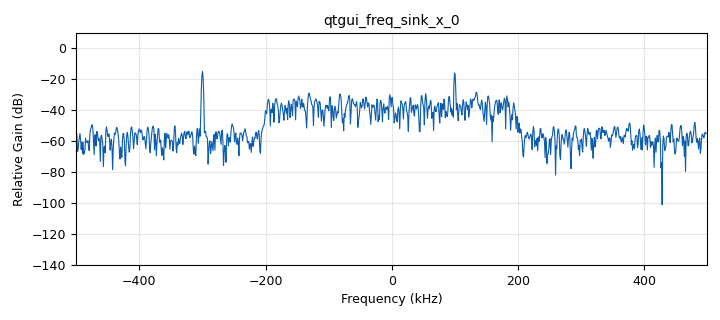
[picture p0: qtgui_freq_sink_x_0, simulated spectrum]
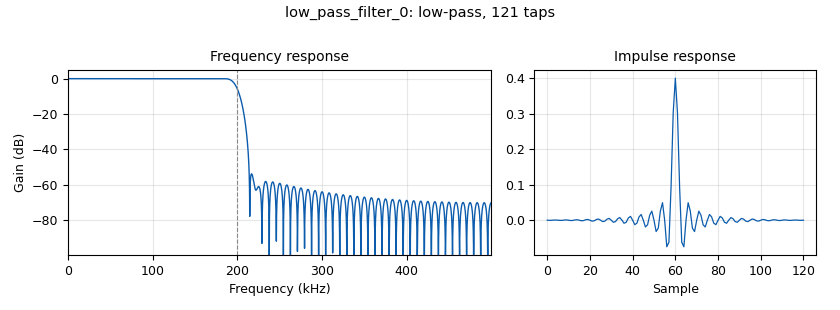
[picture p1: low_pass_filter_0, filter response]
options:
  parameters:
    generate_options: qt_gui
    id: practica1
    output_language: python
    title: Not titled yet
  states: {}

blocks:
- name: samp_rate
  id: variable
  parameters:
    value: '1000000'
  states: {}
- name: analog_noise_source_x_0
  id: analog_noise_source_x
  parameters:
    amp: '1'
    noise_type: analog.GR_GAUSSIAN
    seed: '0'
    type: complex
  states: {}
- name: analog_noise_source_x_1
  id: analog_noise_source_x
  parameters:
    amp: '0.1'
    noise_type: analog.GR_GAUSSIAN
    seed: '0'
    type: complex
  states: {}
- name: analog_sig_source_x_0
  id: analog_sig_source_x
  parameters:
    amp: '0.5'
    freq: '100000'
    offset: '0'
    phase: '0'
    samp_rate: samp_rate
    type: complex
    waveform: analog.GR_COS_WAVE
  states: {}
- name: analog_sig_source_x_0_0
  id: analog_sig_source_x
  parameters:
    amp: '0.5'
    freq: '-300000'
    offset: '0'
    phase: '0'
    samp_rate: samp_rate
    type: complex
    waveform: analog.GR_COS_WAVE
  states: {}
- name: blocks_add_xx_0
  id: blocks_add_xx
  parameters:
    num_inputs: '4'
    type: complex
  states: {}
- name: low_pass_filter_0
  id: low_pass_filter
  parameters:
    cutoff_freq: '200000'
    decim: '1'
    gain: '1'
    samp_rate: samp_rate
    type: fir_filter_ccf
    width: '20000'
    win: window.WIN_HAMMING
  states: {}
- name: qtgui_freq_sink_x_0
  id: qtgui_freq_sink_x
  parameters:
    bw: samp_rate
    fc: '0'
    fftsize: '1024'
    type: complex
  states: {}

connections:
- [analog_noise_source_x_0, '0', low_pass_filter_0, '0']
- [analog_noise_source_x_1, '0', blocks_add_xx_0, '2']
- [analog_sig_source_x_0, '0', blocks_add_xx_0, '0']
- [analog_sig_source_x_0_0, '0', blocks_add_xx_0, '3']
- [blocks_add_xx_0, '0', qtgui_freq_sink_x_0, '0']
- [low_pass_filter_0, '0', blocks_add_xx_0, '1']

metadata:
  file_format: 1
